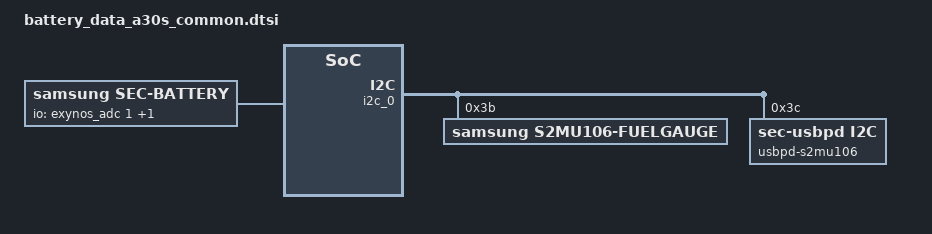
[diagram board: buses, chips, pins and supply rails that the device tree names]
/*
 * A30S Battery parameters device tree file
 *
 * Copyright (C) 2019 Samsung Electronics, Inc.
 *
 * This program is free software; you can redistribute it and/or
 * modify it under the terms of the GNU General Public License
 * as published by the Free Software Foundation; either version 2
 * of the License, or (at your option) any later version.
 *
 * This program is distributed in the hope that it will be useful,
 * but WITHOUT ANY WARRANTY; without even the implied warranty of
 * MERCHANTABILITY or FITNESS FOR A PARTICULAR PURPOSE. See the
 * GNU General Public License for more details.
 *
 * You should have received a copy of the GNU General Public License
 * along with this program. If not, see <http://www.gnu.org/licenses/>.
 *
 */

/ {
	fragment@battery {
		target-path = "/";
		__overlay__ {
			battery_params {
				battery,battery_data =
				<
					/***** battery data for 4.35 *****/
					/* battery,battery_table3 */
					53 11 184 10 59 10 191 9 76 9
					223 8 121 8 27 8 198 7 107 7
					10 7 199 6 152 6 115 6 85 6
					57 6 20 6 237 5 183 5 139 5
					37 5 145 1 215 8 105 8 251 7
					141 7 31 7 177 6 66 6 212 5
					102 5 248 4 137 4 27 4 173 3
					63 3 208 2 98 2 244 1 134 1
					24 1 170 0 59 0 205 15

					/* battery,battery_table4 */
					10 10 10 10 55 55 55 56 55 56
					55 56 57 57 58 58 59 59 61 63
					68 136

					/* battery,batcap */
					0x50 0x3C 0x14 0x0F /* [0x0E] [0x0F] [0x10] [0x11] */

					/* battery,accum */ 
					0x00 0x08 /* [0x44] [0x45] */

					/* battery,soc_arr_val */
					11052 10513 9976 9438 8900 8362 7824 7285 6747 6209
					5671 5133 4595 4057 3518 2980 2442 1904 1366 828
					290 (-248)

					/* battery,ocv_arr_val */
					44006 43397 42787 42182 41623 41091 40593 40131 39716 39272
					38801 38471 38242 38060 37913 37779 37597 37407 37146 36927
					36430 31957

					/* battery,tunning */
					0x00

					/***** battery data for 4.33 *****/
					/* battery,battery_table3 */
					76 11 200 10 68 10 193 9 79 9
					227 8 135 8 251 7 186 7 119 7
					35 7 198 6 147 6 110 6 82 6
					59 6 31 6 247 5 196 5 144 5
					245 4 162 1 240 8 130 8 20 8
					165 7 55 7 201 6 90 6 236 5
					126 5 16 5 161 4 51 4 197 3
					87 3 232 2 122 2 12 2 157 1
					47 1 193 0 83 0 228 15

					/* battery,battery_table4 */
					47 47 47 47 47 47 47 48 47 47
					47 47 47 47 48 48 49 50 51 53
					58 95

					/* battery,batcap */
					0xC8 0x4B 0xF2 0x12 /* [0x0E] [0x0F] [0x10] [0x11] */
					/* battery,accum */
					0x00 0x8 /* [0x44] [0x45] */

					/* battery,soc_arr_val */
					11172 10633 10096 9557 9019 8480 7942 7403 6865 6327 
					5788 5250 4711 4173 3634 3096 2558 2019 1481 942
					404 (-135)

					/* battery,ocv_arr_val */
					44121 43477 42833 42192 41634 41106 40660 39975 39657 39330
					38921 38466 38219 38038 37900 37787 37652 37457 37206 36955
					36198 32039

					/* battery,tunning */
					0x00

					/***** battery data for 4.31 *****/
					/* battery,battery_table3 */
					76 11 200 10 68 10 193 9 79 9
					227 8 135 8 251 7 186 7 119 7
					35 7 198 6 147 6 110 6 82 6 
					59 6 31 6 247 5 196 5 144 5
					245 4 162 1 24 9 168 8 56 8
					199 7 87 7 231 6 119 6 7 6
					150 5 38 5 182 4 70 4 214 3
					102 3 245 2 133 2 21 2 165 1
					53 1 196 0 84 0 228 15

					/* battery,battery_table4 */
					47 47 47 47 47 47 47 48 47 47
					47 47 47 47 48 48 49 50 51 53
					58 95

					/* battery,batcap */
					0x38 0x4A 0x8E 0x12 /* [0x0E] [0x0F] [0x10] [0x11] */
					/* battery,accum */
					0x00 0x8 /* [0x44] [0x45] */

					/* battery,soc_arr_val */
					11368 10820 10271 9724 9176 8628 8081 7533 6985 6437
					5889 5341 4794 4246 3698 3150 2602 2054 1507 959
					411 (-137)
					

					/* battery,ocv_arr_val */
					44121 43477 42833 42192 41634 41106 40660 39975 39657 39330
					38921 38466 38219 38038 37900 37787 37652 37457 37206 36955
					36198 32039

					/* battery,tunning */
					0x00

					/***** battery data for 4.29 *****/
					/* battery,battery_table3 */
					76 11 200 10 68 10 193 9 79 9
					227 8 135 8 251 7 186 7 119 7
					35 7 198 6 147 6 110 6 82 6
					59 6 31 6 247 5 196 5 144 5
					245 4 162 1 71 9 212 8 98 8
					239 7 125 7 11 7 152 6 38 6
					179 5 65 5 206 4 92 4 233 3
					119 3 4 3 146 2 32 2 173 1
					59 1 200 0 86 0 227 15

					/* battery,battery_table4 */
					47 47 47 47 47 47 47 48 47 47
					47 47 47 47 48 48 49 50 51 53
					58 95

					/* battery,batcap */
					0xA8 0x48 0x2A 0x12 /* [0x0E] [0x0F] [0x10] [0x11] */
					/* battery,accum */
					0x00 0x8 /* [0x44] [0x45] */

					/* battery,soc_arr_val */
					11596 11036 10478 9919 9360 8802 8243 7684 7125 6566
					6007 5449 4890 4331 3772 3212 2654 2096 1537 978
					419 (-140)

					/* battery,ocv_arr_val */
					44121 43477 42833 42192 41634 41106 40660 39975 39657 39330
					38921 38466 38219 38038 37900 37787 37652 37457 37206 36955
					36198 32039

					/* battery,tunning */
					0x00

					/***** battery data for 4.24 *****/
					/* battery,battery_table3 */
					76 11 200 10 68 10 193 9 79 9
					227 8 135 8 251 7 186 7 119 7
					35 7 198 6 147 6 110 6 82 6
					59 6 31 6 247 5 196 5 144 5
					245 4 162 1 196 9 76 9 211 8
					91 8 226 7 106 7 241 6 121 6
					0 6 136 5 15 5 151 4 30 4
					166 3 45 3 181 2 60 2 196 1
					75 1 211 0 90 0 226 15

					/* battery,battery_table4 */
					47 47 47 47 47 47 47 48 47 47
					47 47 47 47 48 48 49 50 51 53
					58 95

					/* battery,batcap */
					0x88 0x45 0x62 0x11 /* [0x0E] [0x0F] [0x10] [0x11] */
					/* battery,accum */
					0x00 0x8 /* [0x44] [0x45] */

					/* battery,soc_arr_val */
					12208 11619 11031 10443 9854 9266 8678 8088 7501 6913
					6324 5736 5148 4559 3971 3383 2795 2206 1618 1030
					441 (-147)
					/* battery,ocv_arr_val */
					44121 43477 42833 42192 41634 41106 40660 39975 39657 39330
					38921 38466 38219 38038 37900 37787 37652 37457 37206 36955
					36198 32039

					/* battery,tunning */
					0x00
					>;

				battery,battery_table1 = <
						185 11 47 11 166 10 29 10 161 9
						42 9 188 8 87 8 230 7 155 7
						64 7 222 6 161 6 119 6 86 6
						62 6 42 6 5 6 190 5 143 5
						55 5 242 1 215 8 106 8 252 7
						142 7 32 7 178 6 68 6 215 5
						105 5 251 4 141 4 31 4 177 3
						67 3 214 2 104 2 250 1 140 1
						30 1 176 0 66 0 213 15
						>;

				battery,battery_table2 = <
						47 47 48 49 50 51 50 51 51 51
						52 52 52 53 53 54 54 55 56 57
						60 150
						>;

				battery,battery_table3 = <
						85 10 228 9 115 9 12 9 173 8
						79 8 213 7 170 7 97 7 248 6
						187 6 144 6 110 6 84 6 62 6
						36 6 255 5 215 5 152 5 131 5
						144 4 119 1 235 8 123 8 10 8
						153 7 40 7 183 6 71 6 214 5
						101 5 244 4 131 4 18 4 162 3
						49 3 192 2 79 2 222 1 109 1
						253 0 140 0 27 0 213 15
						>;

				battery,battery_table4 = <
						54 54 54 54 54 54 55 55 54 54
						54 54 54 55 56 56 57 59 61 66
						71 117
						>;

				battery,batcap = <0x3A 0x48 0x0E 0x92>; /* [0x0F] [0x0E] [0x11] [0x10] */

				battery,soc_arr_evt1 = <
							11052 10516 9980 9443 8907 8370 7834 7298 6761 6225
							5688 5152 4616 4079 3543 3006 2470 1933 1397 861
							324 (-212)
							>;
				battery,ocv_arr_evt1 = <
							44654 43982 43309 42642 42035 41455 40916 40427 39871 39506
							39065 38583 38285 38080 37922 37804 37704 37525 37177 36947
							36521 32432
							>;

				battery,soc_arr_evt2 = <
							11149 10598 10048 9497 8946 8395 7844 7293 6742 6191
							5640 5089 4538 3988 3437 2886 2335 1784 1233 682
							131 (-208)
							>;
				battery,ocv_arr_evt2 = <
							42913 42362 41810 41308 40843 40384 39791 39580 39226 38712
							38413 38204 38039 37909 37800 37677 37494 37299 36993 36888
							35702 31831
							>;

				battery,data_ver = <0x04>;
			};

			pdic-manager {
				/* sink */
				pdic,max_power = <5000>;
				pdic,op_power = <2500>;
				pdic,max_voltage = <6000>;
				pdic,max_current = <2000>;
				pdic,min_current = <500>;

				pdic,giveback = <0>;
				pdic,usb_com_capable = <1>;
				pdic,no_usb_suspend = <1>;

				/* source */
				source,max_voltage = <5000>;
				source,min_voltage = <4000>;
				source,max_power = <2500>;

				/* sink cap */
				sink,capable_max_voltage = <9000>;
			};

			battery {
				status = "okay";
				compatible = "samsung,sec-battery";

				pinctrl-names = "default";

				battery,vendor = "Battery";
				battery,charger_name = "s2mu106-charger";
				battery,fuelgauge_name = "s2mu106-fuelgauge";
				battery,technology = <2>; /* POWER_SUPPLY_TECHNOLOGY_LION */
				battery,fgsrc_switch_name = "s2mu106-fuelgauge"; /* Fuelgauge voltage source */

				battery,chip_vendor = "LSI";
				battery,temp_adc_type = <1>; /* SEC_BATTERY_ADC_TYPE_AP */

				battery,temp_check_type = <2>; /* SEC_BATTERY_TEMP_CHECK_TEMP */
				battery,chg_temp_check = <1>;

				battery,thermal_source = <2>; /* SEC_BATTERY_THERMAL_SOURCE_ADC */
				battery,chg_thermal_source = <2>; /* SEC_CHARGER_THERMAL_SOURCE_FG */

				battery,polling_time = <10 30 30 30 3600>;

				battery,temp_table_adc = <
							339 389 443 468 549 639 666 722 788 874
							1019 1177 1277 1404 1493 1608 1808 2061 2309 2502
							2636 2725 2818 2923 3112 3257 3400 3515 3612
							>;
				battery,temp_table_data = <
							900 850 800 750 700 650 620 600 580 550
							500 450 420 400 380 350 300 250 200 150
							120 100 80 50 0 (-50) (-100) (-150) (-200)
							>;

				battery,inbat_voltage = <1>;

				battery,inbat_voltage_table_adc = <
							2766 2755 2728 2698 2678 2649 2620 2598 2562 2532
							2508 2475 2448 2429 2401 2370 2348 2318 2288 2258
							>;
				battery,inbat_voltage_table_data = <
							4350 4300 4250 4200 4150 4100 4050 4000 3950 3900
							3850 3800 3750 3700 3650 3600 3550 3500 3450 3400
							>;

				battery,adc_check_count = <5>;

				battery,cable_check_type = <4>; /* SEC_BATTERY_CABLE_CHECK_PSY */
				battery,cable_source_type = <1>; /* SEC_BATTERY_CABLE_SOURCE_EXTERNAL */
				battery,polling_type = <1>; /* SEC_BATTERY_MONITOR_ALARM */
				battery,monitor_initial_count = <0>;

				battery,pre_afc_input_current = <500>;

				battery,battery_check_type = <0>; /* SEC_BATTERY_CHECK_NONE */
				battery,check_count = <0>;

				battery,ovp_uvlo_check_type = <3>; /* SEC_BATTERY_OVP_UVLO_CHGPOLLING */

				battery,temp_check_count = <1>;
				battery,temp_highlimit_threshold_event = <800>;
				battery,temp_highlimit_recovery_event = <750>;
				battery,temp_high_threshold_event = <500>;
				battery,temp_high_recovery_event = <480>;
				battery,temp_low_threshold_event = <0>;
				battery,temp_low_recovery_event = <20>;
				battery,temp_highlimit_threshold_normal = <800>;
				battery,temp_highlimit_recovery_normal = <750>;
				battery,temp_high_threshold_normal = <500>;
				battery,temp_high_recovery_normal = <480>;
				battery,temp_low_threshold_normal = <0>;
				battery,temp_low_recovery_normal = <20>;
				battery,temp_highlimit_threshold_lpm = <800>;
				battery,temp_highlimit_recovery_lpm = <750>;
				battery,temp_high_threshold_lpm = <500>;
				battery,temp_high_recovery_lpm = <480>;
				battery,temp_low_threshold_lpm = <0>;
				battery,temp_low_recovery_lpm = <20>;
				battery,wpc_high_threshold_normal = <450>;
				battery,wpc_high_recovery_normal = <400>;
				battery,wpc_low_threshold_normal = <0>;
				battery,wpc_low_recovery_normal = <50>;

				battery,full_check_type = <2>; /* SEC_BATTERY_FULLCHARGED_FG_CURRENT */
				battery,full_check_type_2nd = <2>; /* SEC_BATTERY_FULLCHARGED_FG_CURRENT */
				battery,full_check_count = <1>;
				battery,chg_gpio_full_check = <0>;
				battery,chg_polarity_full_check = <1>;

				battery,mix_high_temp = <390>;
				battery,mix_high_chg_temp = <500>;
				battery,mix_high_temp_recovery = <360>;

				battery,chg_heating_prevention_method = <1>; /* SEC_BATTERY_BY_CHANGING_CURRENT */
				battery,chg_high_temp = <450>;
				battery,chg_high_temp_recovery = <430>;
				battery,chg_input_limit_current = <1000>;
				battery,chg_charging_limit_current = <1500>;

				/* SEC_BATTERY_FULL_CONDITION_SOC |
				 * SEC_BATTERY_FULL_CONDITION_NOTIMEFULL |
				 * SEC_BATTERY_FULL_CONDITION_VCELL
				 */
				battery,full_condition_type = <13>;
				battery,full_condition_soc = <93>;
				battery,full_condition_vcell = <4250>;

				battery,recharge_check_count = <1>;
				battery,recharge_condition_type = <4>; /* SEC_BATTERY_RECHARGE_CONDITION_VCELL */
				battery,recharge_condition_soc = <98>;
				battery,recharge_condition_vcell = <4280>;

				battery,charging_total_time = <14400>;
				battery,hv_charging_total_time = <10800>;
				battery,normal_charging_total_time = <18000>;
				battery,usb_charging_total_time = <36000>;
				battery,recharging_total_time = <5400>;
				battery,charging_reset_time = <0>;

				battery,chg_float_voltage = <4350>;

				battery,swelling_high_temp_block = <410>;
				battery,swelling_high_temp_recov = <390>;
				battery,swelling_wc_high_temp_recov = <390>;
				battery,swelling_low_temp_block_1st = <150>;
				battery,swelling_low_temp_recov_1st = <170>;
				battery,swelling_low_temp_block_2nd = <50>;
				battery,swelling_low_temp_recov_2nd = <70>;

				battery,swelling_low_temp_current = <960>;	/* 0.3C */
				battery,swelling_low_temp_current_2nd = <400>;	/* 0.1C */
				battery,swelling_low_temp_topoff = <200>;	/* 0.05C */
				battery,swelling_high_temp_current = <1440>;	/* 0.45C */
				battery,swelling_high_temp_topoff = <200>;	/* 0.05C */

				battery,swelling_drop_float_voltage = <4150>;
				battery,swelling_high_rechg_voltage = <4000>;
				battery,swelling_low_rechg_voltage = <4000>;

				battery,siop_event_check_type = <1>;
				battery,siop_call_cv_current = <330>;
				battery,siop_call_cc_current = <330>;

				battery,siop_input_limit_current = <1200>;
				battery,siop_charging_limit_current = <1000>;
				battery,siop_hv_input_limit_current = <700>;
				battery,siop_hv_charging_limit_current = <1000>;

				battery,pd_charging_charge_power = <15000>;
				battery,max_charging_current = <2500>;
				battery,battery_full_capacity = <4000>;

				battery,input_current_by_siop_20 = <400>;

				/* cycle, chg_float_voltage, recharge_condition_vcell, full_condition_vcell, full_condition_soc */
				battery,age_data = <0 4350 4280 4250 93	/*4.35*/
						300 4330 4260 4230 92	/*4.33*/
						400 4310 4240 4210 91	/*4.31*/
						700 4290 4220 4190 90	/*4.29*/
						1000 4240 4170 4140 89	/*4.24*/
						>;

				battery,max_input_voltage = <9000>; /* mV */
				battery,max_input_current = <3000>;  /* mA */

				battery,prepare_afc_delay = <0>;

				battery,standard_curr = <2300>;
				battery,expired_time = <10800>; /* 120 + 60 minutes */
				battery,recharging_expired_time = <5400>;

				battery,cisd_max_voltage_thr = <5000>; /* battery ovp detection voltage */

				battery,cisd_alg_index = <7>;
				battery,lowtemp_support_full_volt;
				battery,enable_water_resistance;

				io-channels = <&exynos_adc 1>, <&exynos_adc 2>;
				io-channel-names = "adc-temp", "adc-in-bat";
				#io-channel-cells = <5>;
				io-channel-ranges;
				battery,ttf_hv_charge_current = <2500>;
				battery,ttf_capacity = <3800>;
				battery,cv_data = <
							2231	830		1843
							2110	841		1781
							1988	850		1719
							1834	861		1637
							1730	870		1575
							1584	881		1482
							1435	891		1390
							1321	900		1307
							1183	910		1194
							1047	920		1070
							911		930		916
							805		940		782
							695		950		597
							610		960		443
							566		970		350
							522		980		237
							483		990		124
							445		1000	0
							>;
			};

/* sec_battery_cable
 *   0	UNKNOWN,
 *   1	NONE,
 *   2	PREPARE_TA,
 *   3	TA,
 *   4	USB,
 *   5	USB_CDP,
 *   6	9V_TA,
 *   7	9V_ERR,
 *   8	9V_UNKNOWN,
 *   9	12V_TA,
 *  10	WIRELESS,
 *  11	HV_WIRELESS,
 *  12	PMA_WIRELESS,
 *  13	WIRELESS_PACK,
 *  14	WIRELESS_PACK_TA,
 *  15	WIRELESS_STAND,
 *  16	WIRELESS_HV_STAND,
 *  17	QC20,
 *  18	QC30,
 *  19	PDIC,
 *  20	UARTOFF,
 *  21	OTG,
 *  22	LAN_HUB,
 *  23	POWER_SHARING,
 *  24	HMT_CONNECTED,
 *  25	HMT_CHARGE,
 *  26	HV_TA_CHG_LIMIT,
 *  27	WIRELESS_VEHICLE,
 *  28	WIRELESS_HV_VEHICLE,
 *  29	PREPARE_WIRELESS_HV,
 *  30	TIMEOUT,
 *  31	SMART_OTG,
 *  32	SMART_NOTG,
 *  33	FACTORY_UART,
 *  34	CABLE_MAX,
 */
			cable-info {
				default_input_current = <1800>;
				default_charging_current = <2100>;
				full_check_current_1st = <400>;
				full_check_current_2nd = <200>;

				current_group_1 {
					cable_number = <1 4 19 21 22 23 30>;
					input_current = <500>;
					charging_current = <500>;
				};

				current_group_2 {
					cable_number = <2 25 31>;
					input_current = <1000>;
					charging_current = <1000>;
				};

				current_group_3 {
					cable_number = <5 32>;
					input_current = <1500>;
					charging_current = <1500>;
				};

				current_group_4 {
					cable_number = <6 7 8>;
					input_current = <1650>;
					charging_current = <2300>;
				};

				current_group_5 {
					cable_number = <9>;
					input_current = <1650>;
					charging_current = <2300>;
				};

				current_group_6 {
					cable_number = <10 12 14 15 27>;
					input_current = <900>;
					charging_current = <1200>;
				};

				current_group_7 {
					cable_number = <13>;
					input_current = <700>;
					charging_current = <1200>;
				};

				current_group_8 {
					cable_number = <24>;
					input_current = <1000>;
					charging_current = <450>;
				};

				current_group_9 {
					cable_number = <26>;
					input_current = <2000>;
					charging_current = <1800>;
				};

				current_group_10 {
					cable_number = <11 16 28>;
					input_current = <650>;
					charging_current = <1200>;
				};

				current_group_11 {
					cable_number = <29>;
					input_current = <500>;
					charging_current = <1200>;
				};
			};

			s2mu106-charger {
				status = "disable";
				compatible = "samsung,s2mu106-charger";
			};
		};
	};
};

&pinctrl_0 {
	fuel_irq: fuel-irq {
		samsung,pins = "gpa2-4";
		samsung,pin-function = <0>;
		samsung,pin-pud = <2>;
		samsung,pin-drv = <0>;
	};

	if_pmic_irq: if-pmic-irq {
		samsung,pins = "gpa2-2";
		samsung,pin-function = <0>;
		samsung,pin-pud = <0>;
		samsung,pin-drv = <0>;
	};

	usbpd_irq: usbpd-irq {
		samsung,pins = "gpa2-3";
		samsung,pin-function = <0x0f>;
		samsung,pin-pud = <0>;
		samsung,pin-drv = <0>;
	};
};

&i2c_0 {
	i2c-gpio,delay-us = <5>;
	status = "okay";
	s2mu106-fuelgauge@3B {
		compatible = "samsung,s2mu106-fuelgauge";
		reg = <0x3B>;
		pinctrl-names = "default";
		pinctrl-0 = <&fuel_irq>;
		fuelgauge,fuel_int = <&gpa2 4 0>;
		fuelgauge,fuel_alert_soc = <1>;
		fuelgauge,fuel_alert_vol = <3300>;
		fuelgauge,low_temp_limit = <100>;
		fuelgauge,sw_vbat_l_recovery_vol = <3465>;
		fuelgauge,capacity_max = <970>;
		fuelgauge,capacity_max_margin = <200>;
		fuelgauge,capacity_min = <0>;
		fuelgauge,capacity_calculation_type = <28>;
		fuelgauge,capacity_full = <4000>;
		fuelgauge,type_str = "SDI";
		fuelgauge,fg_log_enable = <1>;
	};

	usbpd-s2mu106@3C {
		compatible = "sec-usbpd,i2c";
		reg = <0x3C>;
		pinctrl-names = "default";
		pinctrl-0     = <&usbpd_irq>;
		usbpd,usbpd_int = <&gpa2 3 0>;
	};
};
